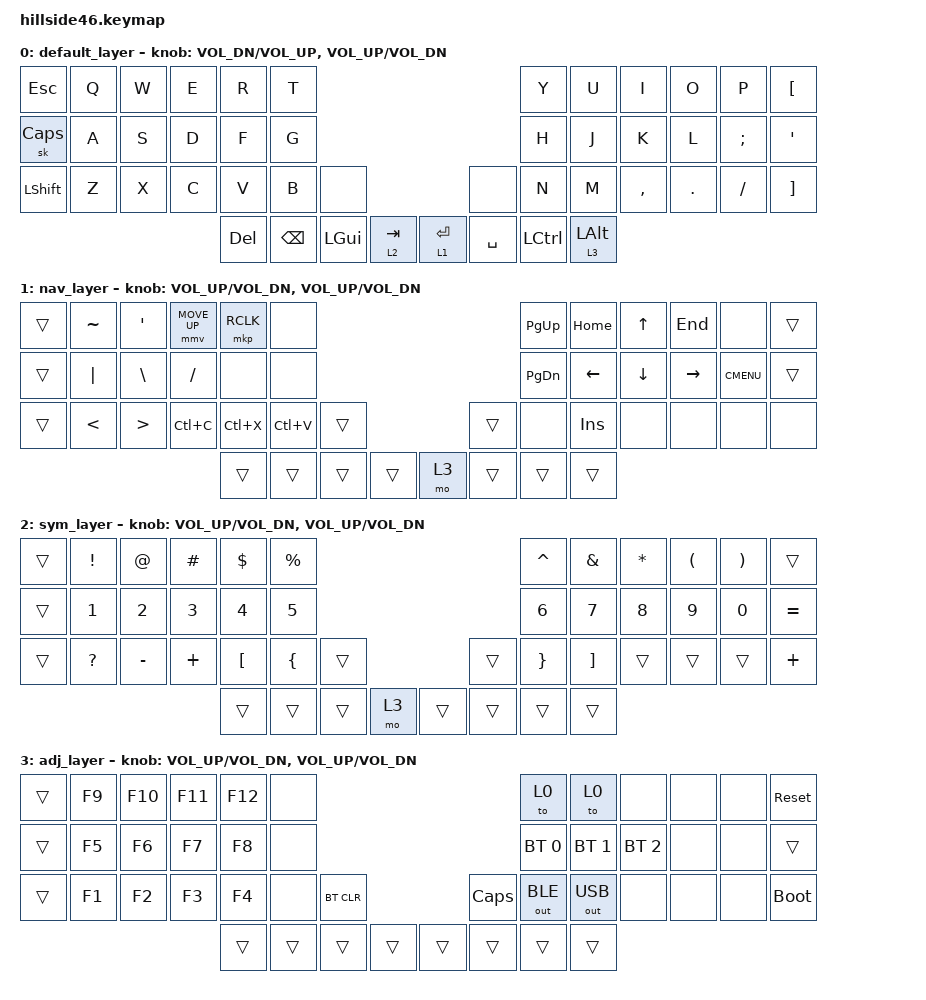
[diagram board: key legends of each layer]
/*
 * Copyright (c) 2021-2022 The ZMK Contributors
 *
 * SPDX-License-Identifier: MIT
 */

#include <behaviors.dtsi>
#include <dt-bindings/zmk/bt.h>
#include <dt-bindings/zmk/keys.h>
#include <dt-bindings/zmk/outputs.h>
#include <dt-bindings/zmk/pointing.h>
#include "keys_de.h"

#define QWERTZ_L 0
#define NAV_L    1
#define SYM_L    2
#define ADJ_L    3
#define UML_L    4
#define COLEMK_L 5
#define UMLQ_L   6
#define Undo   LC(Z)
#define Cut    LC(X)
#define Copy   LC(C)
#define Paste  LC(V)
#define Redo   LC(Y)

/ {
    conditional_layers { compatible = "zmk,conditional-layers"; };

    behaviors {
        td0: tap_dance_0 {
            compatible = "zmk,behavior-tap-dance";
            #binding-cells = <0>;
            tapping-term-ms = <200>;
            bindings = <&sk LSHIFT>, <&caps_word>, <&kp CAPS>;
        };
    };

    keymap {
        compatible = "zmk,keymap";

        default_layer {
            /* QWERTZ
 * -------------------------------------------------------------------------------------------------------------------------------------
 * | `     |   Q   |   W   |   E   |   R   |   T   |-----------------------------------|   Z   |   U   |   I   |   O   |   P   | BKSPC |
 * | TAB   |   A   |   S   |   D   |   F   |   G   |-----------------------------------|   H   |   J   |   K   |   L   |   ;   | ENTER |
 * | CTRL  |   Y   |   X   |   C   |   V   |   B   |  ESC  |-------------------|  Uml  |   N   |   M   |   ,   |   .   |   /   |   '   |
 *                                 |  GUI  |  CTRL | ENTER |  Sym  |---|  Nav  | SPACE | SHIFT | BKSPC |
 */

            bindings = <
&kp ESC         &kp Q  &kp W  &kp E  &kp R       &kp T                                                             &kp Y      &kp U           &kp I      &kp O    &kp P     &kp LEFT_BRACKET
&sk CAPSLOCK    &kp A  &kp S  &kp D  &kp F       &kp G                                                             &kp H      &kp J           &kp K      &kp L    &kp SEMI  &kp APOS
&kp LEFT_SHIFT  &kp Z  &kp X  &kp C  &kp V       &kp B          &none                                   &none      &kp N      &kp M           &kp COMMA  &kp DOT  &kp FSLH  &kp RIGHT_BRACKET
                                     &kp DELETE  &kp BACKSPACE  &kp LEFT_GUI  &lt 2 TAB    &lt 1 ENTER  &kp SPACE  &kp LCTRL  &lt 3 LEFT_ALT
            >;

            sensor-bindings =
                <&inc_dec_kp C_VOL_DN C_VOL_UP>,
                <&inc_dec_kp C_VOL_UP C_VOL_DN>;
        };

        nav_layer {
            /* NAV   
 * -------------------------------------------------------------------------------------------------------------------------------------
 * |       |   ~   |   '   |       |       |       |-----------------------------------| PG UP |  Home |   Up  | End   |       |       |
 * |       |   |   |   \   |   /   |       |       |-----------------------------------| PG DN |  Left |  Down | Right | Menu  |       |
 * |       |   <   |   >   | Copy  |  Cut  | Paste |       |-------------------|       |       |  Ins  |       |       |       |       |
 *                                 |       |       |       |       |---| ADJ_L |       |       |       |
 */

            bindings = <
&trans  &kp TILDE  &kp SQT   &mmv MOVE_UP  &mkp RCLK  &none                                       &kp PG_UP  &kp HOME  &kp UP    &kp END    &none        &trans
&trans  &kp PIPE   &kp BSLH  &kp FSLH      &none      &none                                       &kp PG_DN  &kp LEFT  &kp DOWN  &kp RIGHT  &kp K_CMENU  &trans
&trans  &kp LT     &kp GT    &kp Copy      &kp Cut    &kp Paste  &trans                   &trans  &none      &kp INS   &none     &none      &none        &none
                                           &trans     &trans     &trans  &trans    &mo 3  &trans  &trans     &trans
            >;

            sensor-bindings = <&inc_dec_kp C_VOL_UP C_VOL_DN &inc_dec_kp C_VOL_UP C_VOL_DN>;
        };

        sym_layer {
            /* SYM
 * -------------------------------------------------------------------------------------------------------------------------------------
 * |       |   !   |   @   |   #   |   $   |   %   |-----------------------------------|   ^   |   &   |   *   |   (   |   )   |       |
 * |       |   1   |   2   |   3   |   4   |   5   |-----------------------------------|   6   |   7   |   8   |   9   |   0   |       |
 * |       |   ?   |   -   |   +   |   [   |   {   |       |-------------------|       |   }   |   ]   |       |       |       |   =   |
 *                                 |       |       |       |  ADJ_L |---|      |       |       |       |
 */

            bindings = <
&trans  &kp EXCL   &kp AT     &kp POUND  &kp DLLR          &kp PRCNT                                   &kp CARET  &kp AMPS  &kp ASTRK  &kp LPAR  &kp RPAR  &trans
&trans  &kp N1     &kp N2     &kp N3     &kp N4            &kp N5                                      &kp N6     &kp N7    &kp N8     &kp N9    &kp N0    &kp EQUAL
&trans  &kp QMARK  &kp MINUS  &kp PLUS   &kp LEFT_BRACKET  &kp LBRC   &trans                   &trans  &kp RBRC   &kp RBKT  &trans     &trans    &trans    &kp PLUS
                                         &trans            &trans     &trans  &mo 3    &trans  &trans  &trans     &trans
            >;

            sensor-bindings = <&inc_dec_kp C_VOL_UP C_VOL_DN &inc_dec_kp C_VOL_UP C_VOL_DN>;
        };

        adj_layer {
            /* ADJUST
 * -------------------------------------------------------------------------------------------------------------------------------------
 * | RESET |  F9   |  F10  |  F11  |  F12  |       |-----------------------------------| CMK   | QWERTZ|       |       |       | RESET |
 * |       |  F5   |  F6   |  F7   |  F8   |       |-----------------------------------| BT 0  |  BT 1 | BT 2  |       |       |       |
 * |       |  F1   |  F2   |  F3   |  F4   |       |BT CLR |-------------------| CAPS  |OUT_BLE|OUT_USB|       |       |       | BOOTL |
 *                                 |       |       |       |       |---|       |       |       |       |
 */

            bindings = <
&trans  &kp F9  &kp F10  &kp F11  &kp F12  &none                                           &to 0         &to 0         &none         &none  &none  &sys_reset
&trans  &kp F5  &kp F6   &kp F7   &kp F8   &none                                           &bt BT_SEL 0  &bt BT_SEL 1  &bt BT_SEL 2  &none  &none  &trans
&trans  &kp F1  &kp F2   &kp F3   &kp F4   &none   &bt BT_CLR                    &kp CAPS  &out OUT_BLE  &out OUT_USB  &none         &none  &none  &bootloader
                                  &trans   &trans  &trans      &trans    &trans  &trans    &trans        &trans
            >;

            sensor-bindings = <&inc_dec_kp C_VOL_UP C_VOL_DN &inc_dec_kp C_VOL_UP C_VOL_DN>;
        };
    };
};
